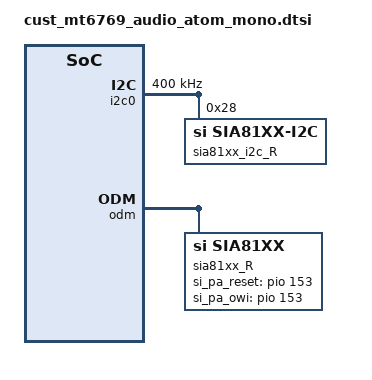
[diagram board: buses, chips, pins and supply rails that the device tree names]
/* Copyright (c) 2018, The Linux Foundation. All rights reserved.
 *
 * This program is free software; you can redistribute it and/or modify
 * it under the terms of the GNU General Public License version 2 and
 * only version 2 as published by the Free Software Foundation.
 *
 * This program is distributed in the hope that it will be useful,
 * but WITHOUT ANY WARRANTY; without even the implied warranty of
 * MERCHANTABILITY or FITNESS FOR A PARTICULAR PURPOSE.  See the
 * GNU General Public License for more details.
 */

&i2c0 {
	#address-cells = <1>;
	#size-cells = <0>;
	clock-frequency = <400000>;
	mediatek,use-open-drain;

	sia81xx_i2c_R: sia81xx_i2c@R {
		compatible = "si,sia81xx-i2c";
		reg = <0x28>;
		si,sipa-dev = <&sia81xx_R>;
	};
};
/*
&audio_extend {
	//for sipa speaker
	oplus,speaker-vendor = "sipa";
	oplus,speaker-i2s-id = <3>;
	oplus,speaker-i2s-id-in = <0>;
	oplus,speaker-codec-name = "sipa_i2c.0-0028";
	oplus,speaker-codec-dai-name = "sia91xx-aif-0-28";
	oplus,spk-i2s-index = <3 0>;
};
*/

&pio {
	sia81xx_gpio_R: sia81xx_gpio_R {
		pins_cmd_dat {
			pinmux = <PINMUX_GPIO153__FUNC_GPIO153>;
			slew-rate = <1>;
			bias-disable;
		};
	};
};

&odm {
	sia81xx_R: sia81xx@R {
		compatible = "si,sia81xx";
		si,si_pa_type = "sia8159";
		si,si_pa_reset = <&pio 153 0>;
		si,si_pa_owi = <&pio 153 0>;
		pinctrl-names = "sia81xx_gpio";
		pinctrl-0 = <&sia81xx_gpio_R>;
		si,si_pa_disable_pin = <1>;
		/* the same value share a same task
		* valid value range : 0 ~ 7 */
		timer_task_hdl = <0>;
		en_peak_current_limit = <1>;
                si,is_analog_pa = <1>;
		channel_num = <1>;
		owi_mode = <6>;
		en_x_filter = <0>;
		en_dynamic_updata_vdd = <0>;
		en_dynamic_updata_pvdd = <0>;
		dynamic_updata_vdd_port = <0x2>;
	};
};

&sound {
	si,sia81xx-max-num = <1>;
	si,sia81xx-aux-devs =<&sia81xx_R>;
	si,sia81xx-aux-devs-prefix ="SpkrRight";
};

